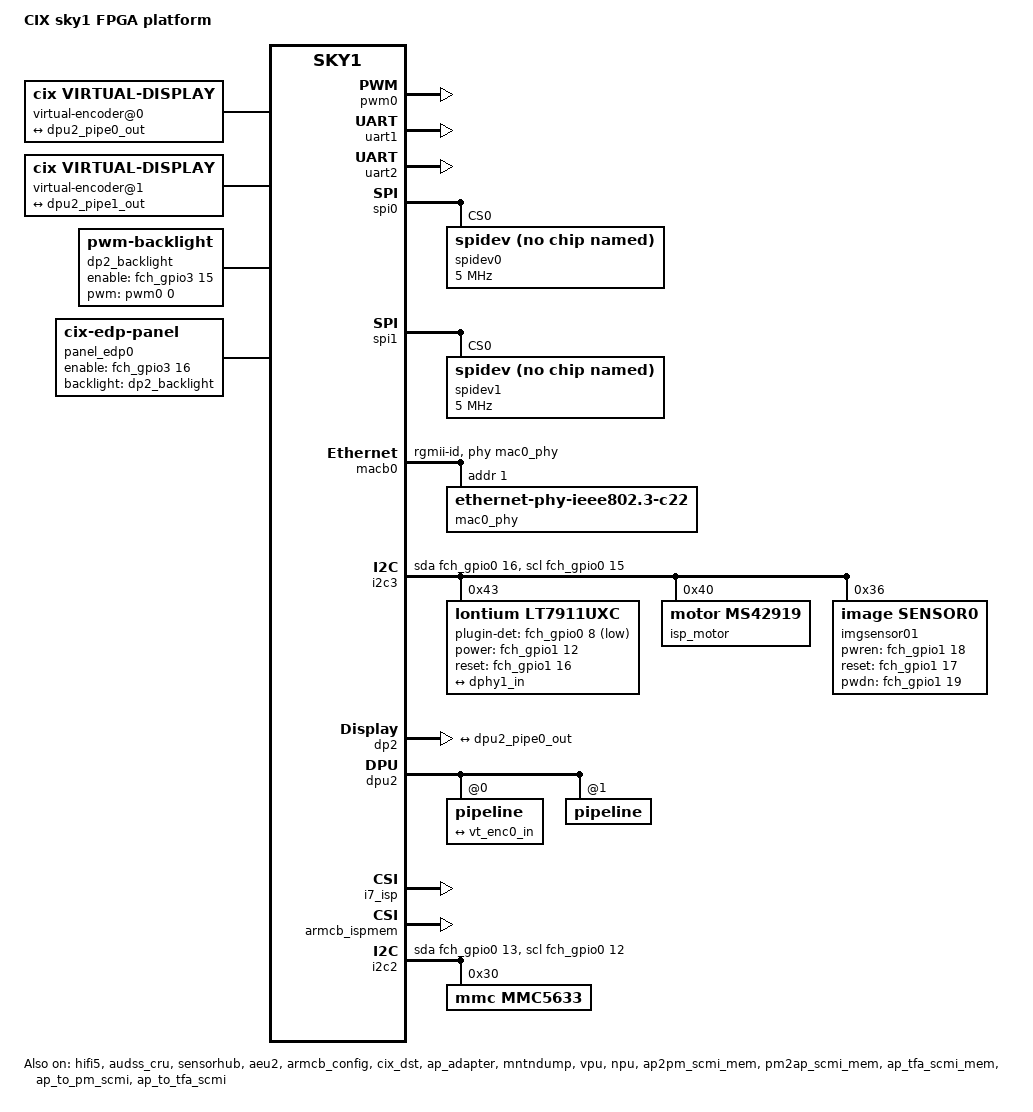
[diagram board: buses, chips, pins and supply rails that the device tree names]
/*
 * Copyright 2024 Cix Technology Group Co., Ltd.
 *
 * SPDX-License-Identifier: BSD-3-Clause
 */

/dts-v1/;
#define CONFIG_ARCH_CIX_EMU_FPGA

#include "sky1.dtsi"

/ {
	model = "CIX sky1 FPGA platform";
	compatible = "cix,sky1-fpga", "cix,sky1";

	aliases {
		linlondp0 = &dpu2;
		linlondp1 = &dpu2;
	};

	virtual-encoder@0 {
		compatible = "cix,virtual-display";
		status = "okay";

		port {
			vt_enc0_in: endpoint {
				remote-endpoint = <&dpu2_pipe0_out>;
			};
		};
	};

	virtual-encoder@1 {
		compatible = "cix,virtual-display";
		status = "okay";

		port {
			vt_enc1_in: endpoint {
				remote-endpoint = <&dpu2_pipe1_out>;
			};
		};
	};

	chosen {
		stdout-path = "serial2:115200n8";
	};

	dummy_codec: dummy_codec {
		#sound-dai-cells = <0>;
		compatible = "linux,dummy";
		status = "disabled";
	};

	alc256_codec: alc256_codec {
		compatible = "realtek,alc256";
		#sound-dai-cells = <0>;
		status = "disabled";
	};

	sound {
		compatible = "cix,sky1-sound-card";
		model = "cix,sky1";
		status = "disabled";

		/* for alc1019 */
		pdb0-gpios = <&s5_gpio0 0 GPIO_ACTIVE_HIGH>;
		beep-gpios = <&s5_gpio0 1 GPIO_ACTIVE_HIGH>;
		/* for alc5682 */
		codec-gpios = <&fch_gpio0 3 GPIO_ACTIVE_HIGH>;
		i2sint-gpios = <&s5_gpio0 31 GPIO_ACTIVE_LOW>;
		hpmicdet-gpios = <&fch_gpio0 2 GPIO_ACTIVE_LOW>;

		i2s-sc0 {
			status = "disabled";

			format = "dsp_a";
			frame-master = <&i2s_sc0>;
			bitclock-master = <&i2s_sc0>;
			bitclock-inversion;
			mclk-fs = <256>;

			dai-tdm-slot-tx-mask = <1 1 1 1>;
			dai-tdm-slot-rx-mask = <1 1 1 1>;
			dai-tdm-slot-num = <4>;
			dai-tdm-slot-width = <16>;

			i2s_sc0: cpu {
				sound-dai = <&i2s0>;
			};
		};

		i2s-sc2 {
			status = "disabled";

			format = "i2s";
			bitclock-inversion;
			mclk-fs = <256>;

			frame-master = <&dummy_c>;
			bitclock-master = <&dummy_c>;

			cpu {
				sound-dai = <&i2s2>;
			};

			dummy_c: codec {
				sound-dai = <&dummy_codec>;
			};

		};

		i2s-mc0 {
			status = "disabled";

			format = "i2s";
			bitclock-inversion;
			mclk-fs = <256>;

			cpu {
				sound-dai = <&i2s3 0>;
			};
		};

		pa_alc1019 {
			status = "disabled";

			format = "i2s";
			mclk-fs = <256>;
			cpu {
				sound-dai = <&i2s0>;
			};
		};

		codec_alc5682 {
			status = "disabled";

			format = "i2s";
			mclk-fs = <512>;
			jack-det,hp;

			cpu {
				sound-dai = <&i2s0 0>;
			};
			codec {
				sound-dai = <&alc5682>;
			};
		};

		dpout {
			status = "disabled";

			format = "i2s";
			/* bitclock-inversion; //if for external codec */
			mclk-fs = <256>;
			jack-det,dpout;
			cpu {
				sound-dai = <&i2s7 0>;
			};
			codec {
				sound-dai = <&dp2>;
			};
		};

		hda {
			status = "disabled";

			cpu {
				sound-dai = <&ipb_hda>;
			};
			codec {
				sound-dai = <&alc256_codec>;
			};
		};
	};

	dp2_backlight: dp2_backlight {
		compatible = "pwm-backlight";
		enable-gpios = <&fch_gpio3 15 GPIO_ACTIVE_HIGH>;
		pwms = <&pwm0 0 100000>;
		status = "okay";

		brightness-levels = <
			0   1   2   3   4   5   6   7
			8   9  10  11  12  13  14  15
			16  17  18  19  20  21  22  23
			24  25  26  27  28  29  30  31
			32  33  34  35  36  37  38  39
			40  41  42  43  44  45  46  47
			48  49  50  51  52  53  54  55
			56  57  58  59  60  61  62  63
			64  65  66  67  68  69  70  71
			72  73  74  75  76  77  78  79
			80  81  82  83  84  85  86  87
			88  89  90  91  92  93  94  95
			96  97  98  99 100 101 102 103
			104 105 106 107 108 109 110 111
			112 113 114 115 116 117 118 119
			120 121 122 123 124 125 126 127
			128 129 130 131 132 133 134 135
			136 137 138 139 140 141 142 143
			144 145 146 147 148 149 150 151
			152 153 154 155 156 157 158 159
			160 161 162 163 164 165 166 167
			168 169 170 171 172 173 174 175
			176 177 178 179 180 181 182 183
			184 185 186 187 188 189 190 191
			192 193 194 195 196 197 198 199
			200 201 202 203 204 205 206 207
			208 209 210 211 212 213 214 215
			216 217 218 219 220 221 222 223
			224 225 226 227 228 229 230 231
			232 233 234 235 236 237 238 239
			240 241 242 243 244 245 246 247
			248 249 250 251 252 253 254 255>;
		default-brightness-level = <200>;

	};

	panel_edp0: panel_edp0 {
		status = "okay";
		compatible = "cix-edp-panel";
		pinctrl-names = "default";
		pinctrl-0 = <&pinctrl_edp0>;
		backlight = <&dp2_backlight>;
		prepare-delay-ms = <120>;
		enable-delay-ms = <120>;
		unprepare-delay-ms = <500>;
		disable-delay-ms = <120>;
		width-mm = <129>;
		height-mm = <171>;
		enable-gpios = <&fch_gpio3 16 GPIO_ACTIVE_HIGH>;
	};
};

&iomuxc_s5 {
	status = "okay";
	pinctrl_sfi_i2c0: pinctrl_sfi_i2c0_grp {
		sky1,pins = <
			0x00000070 0x0000005c
			0x00000074 0x0000005c
		>;
	};

	pinctrl_sfi_i2c1: pinctrl_sfi_i2c1_grp {
		sky1,pins = <
			0x00000078 0x00000057
			0x0000007c 0x00000057
		>;
	};

	pinctrl_sfi_i3c0: pinctrl_sfi_i3c0_grp {
		sky1,pins = <
			0x00000070 0x000000dc
			0x00000074 0x000000dc
			0x000000a0 0x00000157
		>;
	};

	pinctrl_sfi_i3c1: pinctrl_sfi_i3c1_grp {
		sky1,pins = <
			0x00000078 0x000000dc
			0x0000007c 0x000000dc
			0x000000a4 0x00000157
		>;
	};

	pinctrl_sfi_spi: pinctrl_sfi_spi_grp {
		sky1,pins = <
			0x00000078 0x00000157
			0x0000007c 0x00000157
			0x00000080 0x000000d7
			0x00000084 0x000000d7
			0x00000088 0x000000d7
		>;
	};

	pinctrl_fch_spi0: pinctrl_fch_spi0_grp {
		sky1,pins = <
			0x000000a8 0x0000005c
			0x000000ac 0x0000005c
			0x000000b0 0x0000005c
			0x000000b4 0x0000005c
			0x000000b8 0x0000005c
		>;
	};

	pinctrl_fch_xspi: pinctrl_fch_xspi_grp {
                sky1,pins = <
                        0x000000f0 0x000000dc
                        0x000000f4 0x000000dc
                        0x000000f8 0x000000dc
                        0x000000fc 0x000000dc
                        0x00000100 0x000000dc
                        0x00000104 0x000000dc
                >;
        };

};

&iomuxc {
	status = "okay";
	pinctrl_fch_pwm0: pinctrl_fch_pwm0 {
		sky1,pins = <
			0x0000013c 0x000000b7
		>;
	};

	pinctrl_fch_pwm1: pinctrl_fch_pwm1 {
		sky1,pins = <
			0x00000140 0x000000b7
		>;
	};

	pinctrl_gmac0: pinctrl_gmac0 {
		sky1,pins =
		/* rfclk_25M */
		< 0x000001a4 0x000000fc>,
		/* txc_trl */
		< 0x000001a8 0x000000bc>,
		/* txd0 */
		< 0x000001ac 0x000000bc>,
		/* txd1 */
		< 0x000001b0 0x000000bc>,
		/* txd2 */
		< 0x000001b4 0x000000bc>,
		/* txd3 */
		< 0x000001b8 0x000000bc>,
		/* tx_clk */
		< 0x000001bc 0x000000bc>,
		/* rx_ctl */
		< 0x000001c0 0x000000a4>,
		/* rxd0 */
		< 0x000001c4 0x000000a4>,
		/* rxd1 */
		< 0x000001c8 0x000000a4>,
		/* rxd2 */
		< 0x000001cc 0x000000a4>,
		/* rxd3 */
		< 0x000001d0 0x000000a4>,
		/* rx_clk */
		< 0x000001d4 0x000000a4>,
		/* mdc */
		< 0x000001d8 0x000000bc>,
		/* mdio */
		< 0x000001dc 0x000000dc>;
	};

	pinctrl_fch_fan0: pinctrl_fch_fan0 {
		sky1,pins = <
			0x0000014c 0x000000b7
		>;
	};

	pinctrl_fch_fan1: pinctrl_fch_fan1 {
		sky1,pins = <
			0x00000154 0x000000b7
		>;
	};

	pinctrl_fch_fan2: pinctrl_fch_fan2 {
		sky1,pins = <
			0x00000144 0x000000b7
		>;
	};

	pinctrl_fch_i2c0: pinctrl_fch_i2c0 {
		sky1,pins = <
			0x00000078 0x00000047
			0x0000007c 0x00000047
		>;
	};

	pinctrl_fch_i2c0_gpio: pinctrl_fch_i2c0_gpio {
		sky1,pins = <
			0x00000078 0x000000c7
			0x0000007c 0x000000c7
		>;
	};

	pinctrl_fch_i2c1: pinctrl_fch_i2c1 {
		sky1,pins = <
			0x00000080 0x00000047
			0x00000084 0x00000047
		>;
	};

	pinctrl_fch_i2c1_gpio: pinctrl_fch_i2c1_gpio {
		sky1,pins = <
			0x00000080 0x000000c7
			0x00000084 0x000000c7
		>;
	};

	pinctrl_fch_i2c2: pinctrl_fch_i2c2 {
		sky1,pins = <
			0x00000088 0x0000005c
			0x0000008c 0x0000005c
		>;
	};

	pinctrl_fch_i2c2_gpio: pinctrl_fch_i2c2_gpio {
		sky1,pins = <
			0x00000088 0x0000015c
			0x0000008c 0x0000015c
		>;
	};

	pinctrl_fch_i2c3: pinctrl_fch_i2c3 {
		sky1,pins = <
			0x00000094 0x0000005c
			0x00000098 0x0000005c
		>;
	};

	pinctrl_fch_i2c3_gpio: pinctrl_fch_i2c3_gpio {
		sky1,pins = <
			0x00000094 0x0000015c
			0x00000098 0x0000015c
		>;
	};

	pinctrl_fch_i2c4: pinctrl_fch_i2c4 {
		sky1,pins = <
			0x000000a0 0x00000047
			0x000000a4 0x00000047
		>;
	};

	pinctrl_fch_i2c4_gpio: pinctrl_fch_i2c4_gpio {
		sky1,pins = <
			0x000000a0 0x000000c7
			0x000000a4 0x000000c7
		>;
	};

	pinctrl_fch_i2c5: pinctrl_fch_i2c5 {
		sky1,pins = <
			0x00000068 0x00000047
			0x0000006c 0x00000047
		>;
	};

	pinctrl_fch_i2c5_gpio: pinctrl_fch_i2c5_gpio {
		sky1,pins = <
			0x00000068 0x000000c7
			0x0000006c 0x000000c7
		>;
	};

	pinctrl_fch_i2c6: pinctrl_fch_i2c6 {
		sky1,pins = <
			0x00000070 0x00000047
			0x00000074 0x00000047
		>;
	};

	pinctrl_fch_i2c6_gpio: pinctrl_fch_i2c6_gpio {
		sky1,pins = <
			0x00000070 0x000000c7
			0x00000074 0x000000c7
		>;
	};

	pinctrl_fch_i2c7: pinctrl_fch_i2c7 {
		sky1,pins = <
			0x00000054 0x00000047
			0x00000058 0x00000047
		>;
	};

	pinctrl_fch_spi1: pinctrl_fch_spi1_grp {
		sky1,pins = <
			0x000001e8 0x0000013c
			0x000001ec 0x0000013c
			0x000001f0 0x0000013c
			0x000001f4 0x0000013c
			0x000001f8 0x0000013c
		>;
	};

	pinctrl_fch_i3c0: pinctrl_fch_i3c0 {
		sky1,pins = <
			0x00000088 0x000000dc
			0x0000008c 0x000000dc
			0x00000090 0x000000dc
		>;
	};

	pinctrl_fch_i3c1: pinctrl_fch_i3c1 {
		sky1,pins = <
			0x00000094 0x000000dc
			0x00000098 0x000000dc
			0x0000009c 0x000000dc
		>;
	};

	pinctrl_fch_uart0: pinctrl_fch_uart0 {
		sky1,pins = <
			0x0000013c 0x00000037
			0x00000140 0x00000037
			0x00000144 0x00000037
			0x00000148 0x00000037
		>;
	};

	pinctrl_fch_uart1: pinctrl_fch_uart1 {
		sky1,pins = <
			0x0000014c 0x00000037
			0x00000150 0x00000037
			0x00000154 0x00000037
			0x00000158 0x00000037
		>;
	};

        pinctrl_fch_uart2: pinctrl_fch_uart2 {
		sky1,pins = <
			0x0000015c 0x00000027
			0x00000160 0x00000027
			0x00000164 0x00000027
			0x00000168 0x00000027
		>;
	};

	pinctrl_hda: pinctrl_hda_grp {
		sky1,pins = <
			0x000000a8 0x00000057
			0x000000ac 0x00000057
			0x000000b0 0x00000057
			0x000000b4 0x00000057
			0x000000b8 0x00000057
		>;
	};

	pinctrl_cam0_hw: pinctrl_cam0_hw {
		sky1,pins = <
			0x00000194 0x0000003C
			0x00000134 0x0000001C
			0x0000011C 0x0000009C
			0x00000128 0x0000001C
		>;
	};
	pinctrl_cam1_hw: pinctrl_cam1_hw {
		sky1,pins = <
			0x00000198 0x0000003C
			0x00000134 0x0000001C
			0x00000130 0x0000001C
			0x00000138 0x0000001C
		>;
	};
	pinctrl_cam2_hw: pinctrl_cam2_hw {
		sky1,pins = <
			0x0000019C 0x0000003C
			0x00000118 0x000000BC
			0x00000114 0x000000BC
			0x00000108 0x000000BC
		>;
	};
	pinctrl_cam3_hw: pinctrl_cam3_hw {
		sky1,pins = <
			0x000001A0 0x0000003C
			0x00000118 0x000000BC
			0x00000120 0x000000BC
			0x00000124 0x000000BC
		>;
	};

	pinctrl_lt7911_hw: pinctrl_lt7911_hw {
		sky1,pins = <
			0x0000012c 0x0000001c
			0x0000011c 0x000000bc
		>;
	};

	pinctrl_edp0: pinctrl_edp0 {
		sky1,pins = <
			0x00000048 0x00000024
			0x0000004C 0x00000024
			0x00000050 0x00000007
		>;
	};
};

&pwm0 {
	pinctrl-names = "default";
	pinctrl-0 = <&pinctrl_fch_pwm0>;
	status = "okay";
};

&pwm1 {
	pinctrl-names = "default";
	pinctrl-0 = <&pinctrl_fch_pwm1>;
	status = "disabled";
};

&pmu {
	status = "okay";
};

&uartclk {
	clock-frequency = <5000000>;
};

&uart_apb_pclk {
	clock-frequency = <5000000>;
};

&hifi5 {
	status = "okay";
};

&mbox_dsp2ap {
	status = "okay";
};

&mbox_ap2dsp {
	status = "okay";
};

&audss_cru {
	status = "okay";
};

&audss_dmac {
	memory-region = <&audio_alsa>;
	status = "disabled";
};

&i2s0 {
	/* i2s_sc0 for codec */
	dmas = <&audss_dmac 0 0>, <&audss_dmac 1 1>;
	dma-names = "tx", "rx";
	status = "disabled";
};

&i2s1 {
	/* i2s_sc1 for 5G/BT */
	dmas = <&audss_dmac 2 2>, <&audss_dmac 3 3>;
	dma-names = "tx", "rx";
	status = "disabled";
};

&i2s2 {
	/* i2s_sc2 for loopback */
	dmas = <&audss_dmac 4 4>, <&audss_dmac 5 5>;
	dma-names = "tx", "rx";
	status = "disabled";
};

&i2s3 {
	/* i2s_mc2a for speaker */
	dmas = <&audss_dmac 4 6>;
	dma-names = "tx";
	cdns,pin-rx-mask = /bits/ 8 <0>; /* 0x00, zero pin as receiver */
	cdns,pin-tx-mask = /bits/ 8 <15>; /* 0x0f, pin0-pin3 works as transmitter */
	status = "disabled";
};

&i2s4 {
	/* i2s_mc2b for dp-in */
	dmas = <&audss_dmac 6 9>;
	dma-names = "rx";
	status = "disabled";
};

&i2s5 {
	/* i2s_mc5a for dp-out */
	dmas = <&audss_dmac 7 10>;
	dma-names = "tx";
	cdns,pin-rx-mask = /bits/ 8 <0>; /* 0x00, zero pin as receiver */
	cdns,pin-tx-mask = /bits/ 8 <15>; /* 0x0f, pin0-pin3 works as transmitter */
	status = "disabled";
};

&i2s6 {
	/* i2s_mc5b for dp-out */
	dmas = <&audss_dmac 7 12>;
	dma-names = "tx";
	cdns,pin-rx-mask = /bits/ 8 <0>; /* 0x00, zero pin as receiver */
	cdns,pin-tx-mask = /bits/ 8 <15>; /* 0x0f, pin0-pin3 works as transmitter */
	status = "disabled";
};

&i2s7 {
	/* i2s_mc5c for dp-out */
	dmas = <&audss_dmac 7 14>;
	dma-names = "tx";
	cdns,pin-rx-mask = /bits/ 8 <0>; /* 0x00, zero pin as receiver */
	cdns,pin-tx-mask = /bits/ 8 <1>; /* pin0 for dp out codec now */
	status = "disabled";
};

&i2s8 {
	/* i2s_mc5d for dp-out */
	dmas = <&audss_dmac 7 16>;
	dma-names = "tx";
	cdns,pin-rx-mask = /bits/ 8 <0>; /* 0x00, zero pin as receiver */
	cdns,pin-tx-mask = /bits/ 8 <15>; /* 0x0f, pin0-pin3 works as transmitter */
	status = "disabled";
};

&i2s9 {
	/* i2s_mc5e for dp-out */
	dmas = <&audss_dmac 7 18>;
	dma-names = "tx";
	cdns,pin-rx-mask = /bits/ 8 <0>; /* 0x00, zero pin as receiver */
	cdns,pin-tx-mask = /bits/ 8 <15>; /* 0x0f, pin0-pin3 works as transmitter */
	status = "disabled";
};

&ipb_hda {
	pinctrl-names = "default";
	pinctrl-0 = <&pinctrl_hda>;
	pdb-gpios = <&fch_gpio0 3 GPIO_ACTIVE_HIGH>;
	memory-region = <&audio_alsa>;
	status = "disabled";
};

&uart0{
	pinctrl-names = "default";
	timeout-value = <10000>;
	pinctrl-0 = <&pinctrl_fch_uart0>;
        dmas = <&fch_dmac 2 0>, <&fch_dmac 3 1>;
        dma-names = "tx","rx";
};

&uart1{
	status = "okay";
	pinctrl-names = "default";
	timeout-value = <10000>;
	pinctrl-0 = <&pinctrl_fch_uart1>;
        dmas = <&fch_dmac 4 2>, <&fch_dmac 5 3>;
        dma-names = "tx","rx";
};

&uart2 {
        status = "okay";
        pinctrl-names = "default";
        pinctrl-0 = <&pinctrl_fch_uart2>;
};

&spi0{
	status = "okay";
	pinctrl-names = "default";
	pinctrl-0 = <&pinctrl_fch_spi0>;
	spidev0:spi@0{
		compatible = "rohm,dh2228fv";
		reg = <0>;
		spi-max-frequency = <5000000>;
	};
};

&spi1{
	status = "okay";
	pinctrl-names = "default";
	pinctrl-0 = <&pinctrl_fch_spi1>;
	spidev1:spi@0{
		compatible = "rohm,dh2228fv";
		reg = <0>;
		spi-max-frequency = <5000000>;
	};
};

&sf_spi{
	status = "disabled";
	pinctrl-names = "default";
	pinctrl-0 = <&pinctrl_sfi_spi>;
	spidev2:spi@0{
		compatible = "rohm,dh2228fv";
		reg = <0>;
		spi-max-frequency = <5000000>;
	};
};

&xspi{
	status = "disabled";
	pinctrl-names = "default";
        pinctrl-0 = <&pinctrl_fch_xspi>;
	flash@0 {
		compatible = "jedec,spi-nor";
		reg = <0>;
		spi-rx-bus-width = <4>;
		spi-max-frequency = <5000000>;
	};
};

&sensorhub {
	memory-region = <&sfh_vdev0buffer>, <&sfh_vdev0vring0>,
			<&sfh_vdev0vring1>, <&sfh_ram>;
	status = "okay";
};

&sky1_usbss_0 {
	u3-port-disable;
	lpm_clk_freq = <4000000>;
	sof_clk_freq = <4000000>;
	status = "disabled";
};

&usbss_0 {
	dr_mode = "host";
	status = "disabled";
};
&macb0 {
	#address-cells = <1>;
	#size-cells = <0>;
	status = "okay";
	pinctrl-names = "default";
	pinctrl-0 = <&pinctrl_gmac0>;
	phy-mode = "rgmii-id";
	phy-handle = <&mac0_phy>;
	mac0_phy: ethernet-phy@1 {
		reg = <1>;
		device_type = "ethernet-phy";
		compatible = "ethernet-phy-ieee802.3-c22";
		//reset-gpios = <&gpio GPIOZ_14 GPIO_ACTIVE_LOW>;

	};
};

&macb1 {
	#address-cells = <1>;
	#size-cells = <0>;
	status = "disabled";
	phy-mode = "rgmii-id";
	phy-handle = <&mac1_phy>;
	fixed-link {
		speed = <10>;
		full-duplex;
	};
	mac1_phy: ethernet-phy@1 {
		reg = <1>;
		device_type = "ethernet-phy";
		compatible = "ethernet-phy-ieee802.3-c22";
		//reset-gpios = <&gpio GPIOZ_14 GPIO_ACTIVE_LOW>;

	};
};

&cix_csi_rcsu_0 {
	status = "disabled";
};

&cix_csi_rcsu_1 {
	status = "disabled";
};

&cix_bridge_0 {
	status = "disabled";
	port {
		cix_bridge_0_in: endpoint {
			remote-endpoint = <&mipi_csi2_0_out>;
		};
	};
};

&cix_bridge_1 {
	status = "disabled";
	port {
		cix_bridge_1_in: endpoint {
			remote-endpoint = <&mipi_csi2_1_out>;
		};
	};
};

&cix_bridge_2 {
	status = "disabled";
	port {
		cix_bridge_2_in: endpoint {
			remote-endpoint = <&mipi_csi2_2_out>;
		};
	};
};

&cix_bridge_3 {
	status = "disabled";
	port {
		cix_bridge_3_in: endpoint {
			remote-endpoint = <&mipi_csi2_3_out>;
		};
	};
};

&cix_mipi_csi_0 {
	lanes = <1>;
	status = "disabled";
	ports {
		#address-cells = <1>;
		#size-cells = <0>;
		port@0 {
			reg = <0>;
			#address-cells = <1>;
			#size-cells = <0>;
			mipi_csi2_0_in: endpoint@1 {
				reg = <1>;
				remote-endpoint = <&dphy1_out>;
			};
		};
		port@1 {
			reg = <1>;
			#address-cells = <1>;
			#size-cells = <0>;
			mipi_csi2_0_out: endpoint@0 {
				reg = <0>;
				remote-endpoint = <&cix_bridge_0_in>;
			};
		};
	};
};

&cix_mipi_csi_1 {
	lanes = <1>;
	status = "disabled";
	ports {
		#address-cells = <1>;
		#size-cells = <0>;
		port@0 {
			reg = <0>;
			#address-cells = <1>;
			#size-cells = <0>;
			mipi_csi2_1_in: endpoint@1 {
				reg = <1>;
				remote-endpoint = <&dphy2_out>;
			};
		};
		port@1 {
			reg = <1>;
			#address-cells = <1>;
			#size-cells = <0>;
			mipi_csi2_1_out: endpoint@0 {
				reg = <0>;
				remote-endpoint = <&cix_bridge_1_in>;
			};
		};
	};
};

&cix_mipi_csi_2 {
	lanes = <1>;
	status = "disabled";
	ports {
		#address-cells = <1>;
		#size-cells = <0>;
		port@0 {
			reg = <0>;
			#address-cells = <1>;
			#size-cells = <0>;
			mipi_csi2_2_in: endpoint@1 {
				reg = <1>;
				remote-endpoint = <&dphy4_out>;
			};
		};
		port@1 {
			reg = <1>;
			#address-cells = <1>;
			#size-cells = <0>;
			mipi_csi2_2_out: endpoint@0 {
				reg = <0>;
				remote-endpoint = <&cix_bridge_2_in>;
			};
		};
	};
};

&cix_mipi_csi_3 {
	lanes = <1>;
	status = "disabled";
	ports {
		#address-cells = <1>;
		#size-cells = <0>;
		port@0 {
			reg = <0>;
			#address-cells = <1>;
			#size-cells = <0>;
			mipi_csi2_3_in: endpoint@1 {
				reg = <1>;
				remote-endpoint = <&dphy5_out>;
			};
		};
		port@1 {
			reg = <1>;
			#address-cells = <1>;
			#size-cells = <0>;
			mipi_csi2_3_out: endpoint@0 {
			   reg = <0>;
			   remote-endpoint = <&cix_bridge_3_in>;
			};
		};
	};
};

&cix_dphy_0 {
	status = "disabled";
	#address-cells = <1>;
	#size-cells = <0>;
	ports {
		#address-cells = <1>;
		#size-cells = <0>;
		port@0 {
			reg = <0>;
			#address-cells = <1>;
			#size-cells = <0>;
			dphy0_in: endpoint@1 {
				reg = <1>;
				remote-endpoint = <&lt7911uxc_out>;
				data-lanes = <1 2 3 4>;
				clock-lanes = <0>;
			};
		};
		port@1 {
			reg = <1>;
			#address-cells = <1>;
			#size-cells = <0>;
			dphy0_out: endpoint@0 {
				reg = <0>;
				remote-endpoint = <&mipi_csi2_0_in>;
			};
		};
	};
};

&cix_dphy_1 {
	status = "disabled";
	#address-cells = <1>;
	#size-cells = <0>;
	ports {
		#address-cells = <1>;
		#size-cells = <0>;
		port@0 {
			reg = <0>;
			#address-cells = <1>;
			#size-cells = <0>;
			dphy1_in: endpoint@1 {
				reg = <1>;
				remote-endpoint = <&lt7911uxc_out>;
				data-lanes = <1 2 3 4>;
				clock-lanes = <0>;
			};
		};

		port@1 {
			reg = <1>;
			#address-cells = <1>;
			#size-cells = <0>;
			dphy1_out: endpoint@0 {
				reg = <0>;
				remote-endpoint = <&mipi_csi2_0_in>;
			};
		};
	};
};

&cix_dphy_2 {
	status = "disabled";
	#address-cells = <1>;
	#size-cells = <0>;
	ports {
		#address-cells = <1>;
		#size-cells = <0>;
		port@0 {
			reg = <0>;
			#address-cells = <1>;
			#size-cells = <0>;
			dphy2_in: endpoint@1 {
				reg = <1>;
				remote-endpoint = <&virt_lt7911uxc_0_out>;
				data-lanes = <1 2 3 4>;
				clock-lanes = <0>;
			};
		};
		port@1 {
			reg = <1>;
			#address-cells = <1>;
			#size-cells = <0>;
			dphy2_out: endpoint@0 {
				reg = <0>;
				remote-endpoint = <&mipi_csi2_1_in>;
			};
		};
	};

};

&cix_dphy_3 {
	status = "disabled";
	#address-cells = <1>;
	#size-cells = <0>;
	ports {
		#address-cells = <1>;
		#size-cells = <0>;
		port@0 {
			reg = <0>;
			#address-cells = <1>;
			#size-cells = <0>;
			dphy3_in: endpoint@1 {
				reg = <1>;
				/*this not active*/
				remote-endpoint = <&lt7911uxc_out>;
				data-lanes = <1 2 3 4>;
				clock-lanes = <0>;
			};
		};
		port@1 {
			reg = <1>;
			#address-cells = <1>;
			#size-cells = <0>;
			dphy3_out: endpoint@0 {
				reg = <0>;
				remote-endpoint = <&mipi_csi2_2_in>;
			};
		};
	};
};

&cix_dphy_4 {
	status = "disabled";
	#address-cells = <1>;
	#size-cells = <0>;
	ports {
		#address-cells = <1>;
		#size-cells = <0>;
		port@0 {
			reg = <0>;
			#address-cells = <1>;
			#size-cells = <0>;
			dphy4_in: endpoint@1 {
				reg = <1>;
				remote-endpoint = <&virt_lt7911uxc_1_out>;
				data-lanes = <1 2 3 4>;
				clock-lanes = <0>;
			};
		};

		port@1 {
			reg = <1>;
			#address-cells = <1>;
			#size-cells = <0>;
			dphy4_out: endpoint@0 {
				reg = <0>;
				remote-endpoint = <&mipi_csi2_2_in>;
			};
		};
	};
};

&cix_dphy_5 {
	status = "disabled";
	#address-cells = <1>;
	#size-cells = <0>;
	ports {
		#address-cells = <1>;
		#size-cells = <0>;
		port@0 {
			reg = <0>;
			#address-cells = <1>;
			#size-cells = <0>;
			dphy5_in: endpoint@1 {
				reg = <1>;
				remote-endpoint = <&virt_lt7911uxc_2_out>;
				data-lanes = <1 2 3 4>;
				clock-lanes = <0>;
			};
		};
		port@1 {
			reg = <1>;
			#address-cells = <1>;
			#size-cells = <0>;
			dphy5_out: endpoint@0 {
				reg = <0>;
				remote-endpoint = <&mipi_csi2_3_in>;
			};
		};
	};
};

&cix_dphy_hw_0 {
	status = "disabled";
};

&cix_dphy_hw_1 {
	status = "disabled";
};

&i2c0 {
	status = "disabled";
	pinctrl-names = "default","gpio";
	pinctrl-0 = <&pinctrl_fch_i2c0>;
	pinctrl-1 = <&pinctrl_fch_i2c0_gpio>;
	imgsensor00: imgsensor00@34 {
		compatible = "image,sensor0";
		#address-cells = <1>;
		#size-cells = <0>;
		reg = <0x34>;
		pinctrl-names = "default";
		pinctrl-0 = <&pinctrl_cam0_hw>;
		pwren-gpios = <&fch_gpio1 18 GPIO_ACTIVE_HIGH>;
		reset-gpios = <&fch_gpio1 12 GPIO_ACTIVE_HIGH>;
		pwdn-gpios = <&fch_gpio1 15 GPIO_ACTIVE_HIGH>;

		clocks = <&scmi_clk CLK_TREE_CAMERA_MCLK0>;
		clock-names = "mclk";
		actuator-src = <&isp_motor>;
		isp-src = <&i7_isp>;
		status = "disabled";
	};
};

&i2c1 {
	status = "disabled";
	pinctrl-names = "default","gpio";
	pinctrl-0 = <&pinctrl_fch_i2c1>;
	pinctrl-1 = <&pinctrl_fch_i2c1_gpio>;
	imgsensor02: imgsensor02@38 {
		compatible = "image,sensor0";
		#address-cells = <1>;
		#size-cells = <0>;
		reg = <0x38>;
		pinctrl-names = "default";
		pinctrl-0 = <&pinctrl_cam2_hw>;
		pwren-gpios = <&fch_gpio1 11 GPIO_ACTIVE_HIGH>;
		reset-gpios = <&fch_gpio1 10 GPIO_ACTIVE_HIGH>;
		pwdn-gpios = <&fch_gpio1 7 GPIO_ACTIVE_HIGH>;
		clocks = <&scmi_clk CLK_TREE_CAMERA_MCLK2>;
		clock-names = "mclk";
		isp-src = <&i7_isp>;
		status = "disabled";
	};
};
&i2c4 {
	status = "disabled";
	pinctrl-names = "default","gpio";
	pinctrl-0 = <&pinctrl_fch_i2c4>;
	pinctrl-1 = <&pinctrl_fch_i2c4_gpio>;
	imgsensor03: imgsensor03@3a {
		compatible = "image,sensor0";
		#address-cells = <1>;
		#size-cells = <0>;
		reg = <0x3a>;
		pinctrl-names = "default";
		pinctrl-0 = <&pinctrl_cam3_hw>;
		pwren-gpios = <&fch_gpio1 11 GPIO_ACTIVE_HIGH>;
		reset-gpios = <&fch_gpio1 13 GPIO_ACTIVE_HIGH>;
		pwdn-gpios = <&fch_gpio1 14 GPIO_ACTIVE_HIGH>;
		clocks = <&scmi_clk CLK_TREE_CAMERA_MCLK3>;
		clock-names = "mclk";
		isp-src = <&i7_isp>;
		status = "disabled";
	};
};

&i2c3 {
	status = "okay";
	pinctrl-names = "default","gpio";
	pinctrl-0 = <&pinctrl_fch_i2c3>;
	pinctrl-1 = <&pinctrl_fch_i2c3_gpio>;
	scl-gpios = <&fch_gpio0 15 GPIO_ACTIVE_HIGH>;
	sda-gpios = <&fch_gpio0 16 GPIO_ACTIVE_HIGH>;
	lt7911uxc: lt7911uxc@43 {
		compatible = "lontium,lt7911uxc";
		#address-cells = <1>;
		#size-cells = <0>;
		reg = <0x43>;
		/*interrupt-parent = <&gpio0>;*/
		/*interrupts = <RK_PB7 IRQ_TYPE_EDGE_RISING>;*/
		pinctrl-names = "default";
		pinctrl-0 = <&pinctrl_lt7911_hw>;
		plugin-det-gpios = <&fch_gpio0 8 GPIO_ACTIVE_LOW>;
		power-gpios = <&fch_gpio1 12 GPIO_ACTIVE_HIGH>;
		reset-gpios = <&fch_gpio1 16 GPIO_ACTIVE_HIGH>;
		status = "okay";
		port {
			lt7911uxc_out: endpoint {
				//remote-endpoint = <&dphy0_in>;
				remote-endpoint = <&dphy1_in>;
				data-lanes = <4>;
				clock-lanes = <0>;
			};
		};
	};

	virtual_lt7911uxc_0: virtual_lt7911uxc_0@0d {
		compatible = "lontium,lt7911uxc";
		#address-cells = <1>;
		#size-cells = <0>;
		reg = <0x0d>;
		status = "disabled";
		port {
			virt_lt7911uxc_0_out: endpoint {
				remote-endpoint = <&dphy2_in>;
				data-lanes = <4>;
				clock-lanes = <0>;
			};
		};
	};

	virtual_lt7911uxc_1: virtual_lt7911uxc_1@1d {
		compatible = "lontium,lt7911uxc";
		#address-cells = <1>;
		#size-cells = <0>;
		reg = <0x1d>;
		status = "disabled";
		port {
			virt_lt7911uxc_1_out: endpoint {
				remote-endpoint = <&dphy4_in>;
				data-lanes = <4>;
				clock-lanes = <0>;
			};
		};
	};

	virtual_lt7911uxc_2: virtual_lt7911uxc_2@2d {
		compatible = "lontium,lt7911uxc";
		#address-cells = <1>;
		#size-cells = <0>;
		reg = <0x2d>;
		status = "disabled";
		port {
			virt_lt7911uxc_2_out: endpoint {
				remote-endpoint = <&dphy5_in>;
				data-lanes = <4>;
				clock-lanes = <0>;
			};
		};
	};

	isp_motor: motor0@40 {
		compatible = "motor,ms42919";
		#address-cells = <1>;
		#size-cells = <0>;
		reg = <0x40>;
		pi-max-frequency = <124999999>;
		status = "okay";
	};

	imgsensor01: imgsensor01@36 {
		compatible = "image,sensor0";
		#address-cells = <1>;
		#size-cells = <0>;
		reg = <0x36>;
		pinctrl-names = "default";
		pinctrl-0 = <&pinctrl_cam1_hw>;
		pwren-gpios = <&fch_gpio1 18 GPIO_ACTIVE_HIGH>;
		reset-gpios = <&fch_gpio1 17 GPIO_ACTIVE_HIGH>;
		pwdn-gpios = <&fch_gpio1 19 GPIO_ACTIVE_HIGH>;
		clocks = <&scmi_clk CLK_TREE_CAMERA_MCLK1>;
		clock-names = "mclk";
		isp-src = <&i7_isp>;
		status = "okay";
	};

	ra8900ce: ra8900ce@32 {
		compatible = "rtc,rx8900";
		reg = <0x32>;
		interrupt-parent = <&s5_gpio0>;
		interrupts = <10 IRQ_TYPE_LEVEL_LOW>;
		status = "disabled";
	};
};

&dp2 {
	status = "okay";

	cix,dp-lane-number = <1>;
	cix,dp-max-rate = <162000>;
	cix,aux-clock-divider = <25>;

//	edp-panel = <&panel_edp0>;

	port {
		dp2_in: endpoint {
			remote-endpoint = <&dpu2_pipe0_out>;
		};
	};
};

&dpu2 {
	status = "okay";

	pipeline@0 {
		port {
			dpu2_pipe0_out: endpoint {
				remote-endpoint = <&vt_enc0_in>;
			};
		};
	};

	pipeline@1 {
		port {
			dpu2_pipe1_out: endpoint {
			};
		};
	};
};

&aeu2 {
	status = "okay";
};

&i7_isp {
	status = "okay";
};

&armcb_config {
	status = "okay";
};

&armcb_ispmem {
	status = "okay";
};

&its_pcie {
        status = "disabled";
};

&smmu_pciehub{
        status = "disabled";
};

&smmu_mmhub{
	status = "okay";
};

&pcie_x8_rc {
	plat-fpga;
        status = "disabled";
};

&pcie_x4_rc {
	plat-fpga;
	reset-gpios = <&s5_gpio0 7 GPIO_ACTIVE_HIGH>;
	/*wake-gpios = <&s5_gpio0 7 GPIO_ACTIVE_HIGH>;*/
	/*reset-gpio = <&s5_gpio0 7 GPIO_ACTIVE_LOW>;*/
        status = "disabled";
};

&pcie_x2_rc {
	plat-fpga;
        status = "disabled";
};

&pcie_x1_1_rc {
	plat-fpga;
        status = "disabled";
};

&pcie_x1_0_rc {
	plat-fpga;
        status = "disabled";
};

&ramoops {
	status = "okay";
};

&watchdog {
        status = "disabled";
};

&cix_dst {
	status = "okay";
};

&ap_adapter {
	status = "okay";
};

&mntndump {
	status = "okay";
};

&vpu {
	status = "okay";
};

&npu {
    status = "okay";
};

&fch_gpio0 {
	status = "okay";
};

&fch_gpio3 {
        status = "okay";
};

&s5_gpio0 {
	status = "okay";
};

&i2c2 {
	status = "okay";
	pinctrl-names = "default","gpio";
	pinctrl-0 = <&pinctrl_fch_i2c2>;
	pinctrl-1 = <&pinctrl_fch_i2c2_gpio>;
	scl-gpios = <&fch_gpio0 12 GPIO_ACTIVE_HIGH>;
	sda-gpios = <&fch_gpio0 13 GPIO_ACTIVE_HIGH>;
	mmc5633: mmc5633@30 {
		compatible = "mmc,mmc5633";
		reg = <0x30>;
	};

	alc5682: codec@1a {
		compatible = "realtek,rt5682s";
		#sound-dai-cells = <0>;
		status = "disabled";
		reg = <0x1a>;

		interrupt-parent = <&s5_gpio0>;
		interrupts = <31 IRQ_TYPE_LEVEL_LOW>;

		realtek,jd-src = <1>;
	};
};

&i3c_apb_clk{
	clock-frequency = <5000000>;
};

&i3c_sys_clk{
	clock-frequency = <5000000>;
};

&i3c0{
	pinctrl-names = "default";
	pinctrl-0 = <&pinctrl_fch_i3c0>;
	i3c-scl-hz = <100000>;
	clocks = <&i3c_apb_clk>, <&i3c_sys_clk>;

	mmc5633_i3c@30 {
		status = "disabled";
		reg = <0x30 0x04a2 0x0000f000>;
		assigned-address = <0x36>;
        };
	mmc5633_i2c@30 {
		status = "disabled";
		compatible = "mmc,mmc5633";
		reg = <0x30 0x0 0x0>;
        };
};

&i3c1{
	pinctrl-names = "default";
	pinctrl-0 = <&pinctrl_fch_i3c1>;
	i3c-scl-hz = <100000>;
	clocks = <&i3c_apb_clk>, <&i3c_sys_clk>;

	24c08@50 {
		status = "disabled";
		compatible = "eeprom";
		reg = <0x50 0 0x0>;
	};
	24c08@51 {
		status = "disabled";
		compatible = "eeprom";
		reg = <0x51 0 0x0>;
	};
	24c08@52 {
		status = "disabled";
		compatible = "eeprom";
		reg = <0x52 0 0x0>;
	};
	24c08@53{
		status = "disabled";
		compatible = "eeprom";
		reg = <0x53 0 0x0>;
	};
};

&sf_i3c0{
	pinctrl-names = "default";
	pinctrl-0 = <&pinctrl_sfi_i3c0>;
	i3c-scl-hz = <100000>;
	clocks = <&i3c_apb_clk>, <&i3c_sys_clk>;

        mmc5633c_i3c@30 {
        	status = "disabled";
                reg = <0x30 0x04a2 0x0000f000>;
                assigned-address = <0x36>;
        };
        mmc5633_i2c0@30 {
                status = "disabled";
                compatible = "mmc,mmc5633";
                reg = <0x30 0x0 0x0>;
        };
};

&mbox_ap2pm {
    status = "okay";
};

&mbox_pm2ap {
    status = "okay";
};

&ap2pm_scmi_mem {
    status = "okay";
};

&pm2ap_scmi_mem {
    status = "okay";
};

&ap_tfa_scmi_mem {
    status = "okay";
};

&ap_to_pm_scmi {
    status = "okay";
};

&ap_to_tfa_scmi {
    status = "okay";
};

